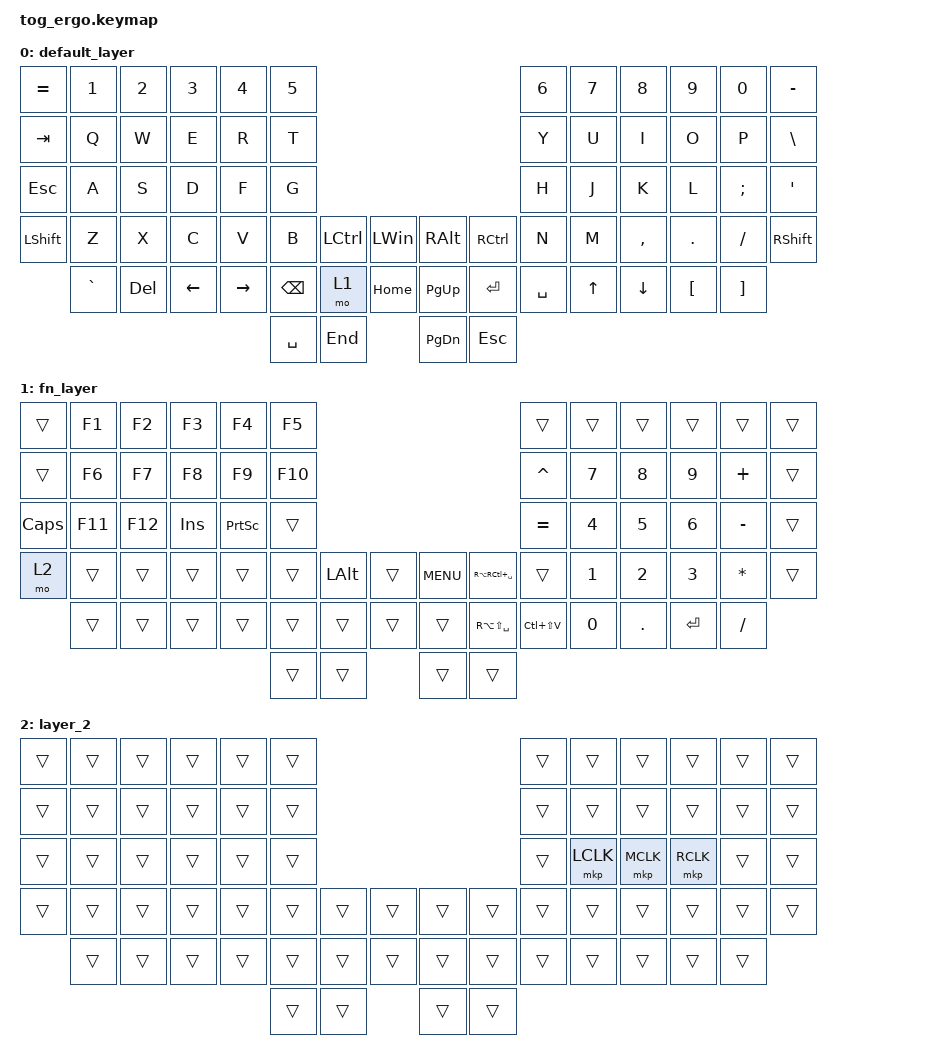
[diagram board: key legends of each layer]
/*
 * Copyright (c) 2021 The ZMK Contributors
 *
 * SPDX-License-Identifier: MIT
 */

#include <behaviors.dtsi>
#include <dt-bindings/zmk/keys.h>
#include <dt-bindings/zmk/pointing.h>

#define DEFAULT 0
#define FN  1

/ {
    combos {
        compatible = "zmk,combos";

        RCtrl+RShift-Layer2 {
            bindings = <&to 2>;
            key-positions = <45 51>;
            layers = <0>;
        };
    };

    keymap {
        compatible = "zmk,keymap";

        default_layer {
            // ---------------------------------------------------------------------------------------------------------------------------------
            // | ESC  |  1   |  2   |  3   |  4   |  5   |                                                   |  6   |  7   |  8   |  9   |  0   | BSPC |
            // | CMD  |  Q   |  W   |  E   |  R   |  T   |                                                   |  Y   |  U   |  I   |  O   |  P   | EQL  |
            // | TAB  |  A   |  S   |  D   |  F   |  G   |                                                   |  H   |  J   |  K   |  L   | SCLN | QUOT |
            // | LCTL |  Z   |  X   |  C   |  V   |  B   |      | CTL  | ALT  |         | CAPS | CTL  |      |  N   |  M   | COMM | DOT  | SLSH | MINS |
            //        | GRV  | BSLS | LEFT | RGHT |      | SHFT |  FN  | HOME |         | PGUP | ENT  | SPC  |      |  UP  |  DN  | LBKT | RBKT |
            //                                           | SPC  |      | END  |         | PGDN |      | ESC  |

            bindings = <
&kp EQUAL       &kp N1     &kp N2      &kp N3    &kp N4     &kp N5                                                                                 &kp N6  &kp N7  &kp N8     &kp N9      &kp N0     &kp MINUS
&kp TAB         &kp Q      &kp W       &kp E     &kp R      &kp T                                                                                  &kp Y   &kp U   &kp I      &kp O       &kp P      &kp BACKSLASH
&kp ESCAPE      &kp A      &kp S       &kp D     &kp F      &kp G                                                                                  &kp H   &kp J   &kp K      &kp L       &kp SEMI   &kp SQT
&kp LEFT_SHIFT  &kp Z      &kp X       &kp C     &kp V      &kp B                  &kp LCTRL  &kp LEFT_WIN    &kp RIGHT_ALT  &kp RCTRL             &kp N   &kp M   &kp COMMA  &kp PERIOD  &kp SLASH  &kp RIGHT_SHIFT
                &kp GRAVE  &kp DELETE  &kp LEFT  &kp RIGHT          &kp BACKSPACE  &mo 1      &kp HOME        &kp PG_UP      &kp ENTER  &kp SPACE          &kp UP  &kp DOWN   &kp LBKT    &kp RBKT
                                                                    &kp SPACE                 &kp END         &kp PG_DN                 &kp ESCAPE
            >;
        };

        fn_layer {
            // ---------------------------------------------------------------------------------------------------------------------------------
            // |BT_CLR|  F1  |  F2  |  F3  |  F4  |  F5  |                                                   |      | NLCK |  =   |  /   |  *   |      |
            // |      |  F6  |  F7  |  F8  |  F9  |  F10 |                                                   |      |  7   |  8   |  9   |  -   |      |
            // |      |      |      |      |      |      |                                                   |      |  4   |  5   |  6   |  +   |      |
            // |      |      |      |      |      | PTSC |      |      |      |         |      |      |      |      |  1   |  2   |  3   | ENT  |      |
            //        |      | INS  |      |      |      |      |  FN  |      |         |      |      |      |      |      |      |  .   | ENT  |
            //                                                         |      |         |      |

            bindings = <
&trans        &kp F1   &kp F2   &kp F3   &kp F4           &kp F5                                                                                 &trans     &trans        &trans   &trans      &trans        &trans
&trans        &kp F6   &kp F7   &kp F8   &kp F9           &kp F10                                                                                &kp CARET  &kp N7        &kp N8   &kp N9      &kp PLUS      &trans
&kp CAPSLOCK  &kp F11  &kp F12  &kp INS  &kp PRINTSCREEN  &trans                                                                                 &kp EQUAL  &kp N4        &kp N5   &kp N6      &kp MINUS     &trans
&mo 2         &trans   &trans   &trans   &trans           &trans           &kp LEFT_ALT  &trans    &kp C_MENU  &kp RA(RC(SPACE))                 &trans     &kp N1        &kp N2   &kp N3      &kp ASTERISK  &trans
              &trans   &trans   &trans   &trans                    &trans  &trans        &trans    &trans      &kp RA(LS(SPACE))  &kp LC(LS(V))             &kp NUMBER_0  &kp DOT  &kp RETURN  &kp SLASH
                                                                   &trans                &trans    &trans                         &trans
            >;
        };

        layer_2 {
            bindings = <
&trans  &trans  &trans  &trans  &trans  &trans                                                    &trans  &trans     &trans     &trans     &trans  &trans
&trans  &trans  &trans  &trans  &trans  &trans                                                    &trans  &trans     &trans     &trans     &trans  &trans
&trans  &trans  &trans  &trans  &trans  &trans                                                    &trans  &mkp LCLK  &mkp MCLK  &mkp RCLK  &trans  &trans
&trans  &trans  &trans  &trans  &trans  &trans          &trans  &trans    &trans  &trans          &trans  &trans     &trans     &trans     &trans  &trans
        &trans  &trans  &trans  &trans          &trans  &trans  &trans    &trans  &trans  &trans          &trans     &trans     &trans     &trans
                                                &trans          &trans    &trans          &trans
            >;
        };
    };
};
